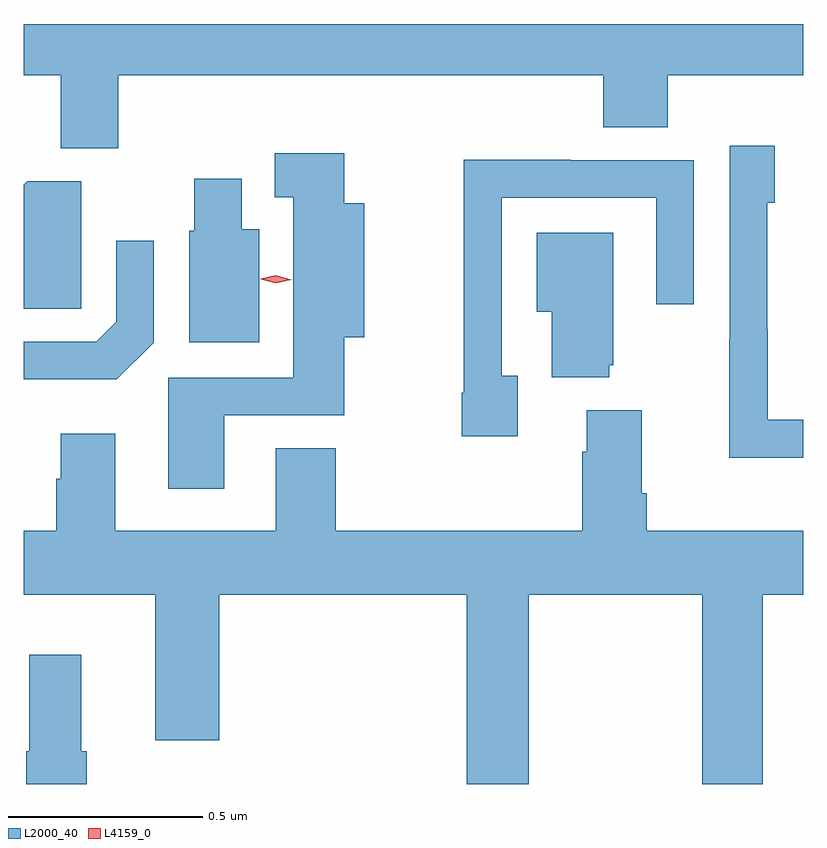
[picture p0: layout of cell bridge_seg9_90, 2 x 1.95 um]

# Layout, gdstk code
import gdstk
lib = gdstk.Library(unit=1e-6, precision=1e-09)
def P(c, l, *ps):  # polygons
    for p in ps: c.add(gdstk.Polygon(p, *l))
L2000_40 = (2000, 40)
L4159_0 = (4159, 0)

bridge_seg9_90 = lib.new_cell('bridge_seg9_90')
P(bridge_seg9_90, L2000_40, [(800.034,1248.368),(800.129,1248.368),(800.129,1248.181),(800.277,1248.181),(800.277,1248.368),(801.521,1248.368),(801.521,1248.235),(801.686,1248.235),(801.686,1248.368),(802.034,1248.368),(802.034,1248.5),(800.034,1248.5)],
  [(802.034,1247.484),(801.943,1247.484),(801.943,1247.717),(801.942,1247.717),(801.942,1248.042),(801.961,1248.042),(801.961,1248.187),(801.846,1248.187),(801.846,1247.693),(801.844,1247.693),(801.844,1247.387),(802.034,1247.387)],
  [(800.548,1247.496),(800.856,1247.496),(800.856,1247.696),(800.908,1247.696),(800.908,1248.04),(800.856,1248.04),(800.856,1248.169),(800.678,1248.169),(800.678,1248.056),(800.726,1248.056),(800.726,1247.592),(800.405,1247.592),(800.405,1247.307),(800.548,1247.307)],
  [(801.301,1247.598),(801.261,1247.598),(801.261,1248.054),(801.657,1248.054),(801.657,1247.781),(801.753,1247.781),(801.753,1248.15),(801.437,1248.15),(801.437,1248.152),(801.163,1248.152),(801.163,1247.554),(801.158,1247.554),(801.158,1247.442),(801.301,1247.442)],
  [(800.638,1247.974),(800.593,1247.974),(800.593,1248.103),(800.471,1248.103),(800.471,1247.97),(800.459,1247.97),(800.459,1247.684),(800.638,1247.684)],
  [(800.181,1247.881),(800.182,1247.881),(800.182,1248.096),(800.043,1248.096),(800.034,1248.087),(800.034,1247.77),(800.181,1247.77)],
  [(801.536,1247.625),(801.547,1247.625),(801.547,1247.965),(801.35,1247.965),(801.35,1247.762),(801.389,1247.762),(801.389,1247.594),(801.536,1247.594)],
  [(800.367,1247.682),(800.367,1247.944),(800.271,1247.944),(800.271,1247.736),(800.22,1247.685),(800.034,1247.685),(800.034,1247.588),(800.273,1247.588)],
  [(801.33,1247.036),(801.775,1247.036),(801.775,1246.55),(801.93,1246.55),(801.93,1247.036),(802.034,1247.036),(802.034,1247.2),(801.632,1247.2),(801.632,1247.296),(801.619,1247.296),(801.619,1247.509),(801.479,1247.509),(801.479,1247.402),(801.467,1247.402),(801.467,1247.2),(800.834,1247.2),(800.834,1247.411),(800.681,1247.411),(800.681,1247.2),(800.269,1247.2),(800.269,1247.449),(800.129,1247.449),(800.129,1247.333),(800.117,1247.333),(800.117,1247.2),(800.034,1247.2),(800.034,1247.036),(800.372,1247.036),(800.372,1246.662),(800.536,1246.662),(800.536,1247.036),(801.17,1247.036),(801.17,1246.55),(801.33,1246.55)],
  [(800.195,1246.634),(800.182,1246.634),(800.182,1246.882),(800.048,1246.882),(800.048,1246.634),(800.041,1246.634),(800.041,1246.55),(800.195,1246.55)])
P(bridge_seg9_90, L4159_0, [(800.681,1247.835),(800.642,1247.845),(800.642,1247.846),(800.642,1247.846),(800.681,1247.855),(800.72,1247.844),(800.721,1247.844),(800.72,1247.844)])

lib.write_gds('bridge_seg9_90.gds')
